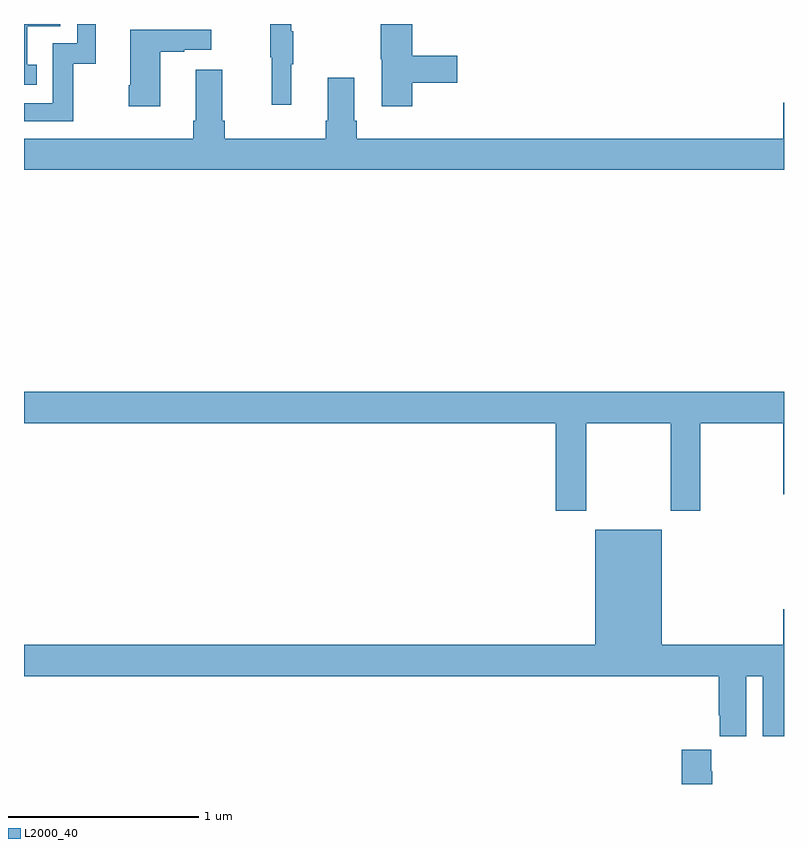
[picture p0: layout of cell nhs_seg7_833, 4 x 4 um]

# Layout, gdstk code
import gdstk
lib = gdstk.Library(unit=1e-6, precision=1e-09)
def P(c, l, *ps):  # polygons
    for p in ps: c.add(gdstk.Polygon(p, *l))
L2000_40 = (2000, 40)

nhs_seg7_833 = lib.new_cell('nhs_seg7_833')
P(nhs_seg7_833, L2000_40, [(173.066,1051.785),(173.017,1051.785),(173.017,1051.989),(173.19,1051.989),(173.19,1052),(173,1052),(173,1051.68),(173.066,1051.68)],
  [(174.407,1051.787),(174.418,1051.787),(174.418,1051.961),(174.407,1051.961),(174.407,1052),(174.297,1052),(174.297,1051.824),(174.304,1051.824),(174.304,1051.575),(174.407,1051.575)],
  [(173.26,1051.791),(173.378,1051.791),(173.378,1052),(173.28,1052),(173.28,1051.899),(173.151,1051.899),(173.151,1051.584),(173,1051.584),(173,1051.488),(173.26,1051.488)],
  [(175.043,1051.69),(175.279,1051.69),(175.279,1051.832),(175.043,1051.832),(175.043,1052),(174.877,1052),(174.877,1051.815),(174.884,1051.815),(174.884,1051.566),(175.043,1051.566)],
  [(173.716,1051.855),(173.843,1051.855),(173.843,1051.865),(173.986,1051.865),(173.986,1051.969),(173.558,1051.969),(173.558,1051.678),(173.551,1051.678),(173.551,1051.566),(173.716,1051.566)],
  [(177,1051.585),(176.996,1051.585),(176.996,1051.396),(174.752,1051.396),(174.752,1051.492),(174.739,1051.492),(174.739,1051.717),(174.599,1051.717),(174.599,1051.492),(174.587,1051.492),(174.587,1051.396),(174.056,1051.396),(174.056,1051.492),(174.043,1051.492),(174.043,1051.759),(173.903,1051.759),(173.903,1051.492),(173.891,1051.492),(173.891,1051.396),(173,1051.396),(173,1051.232),(177,1051.232)],
  [(175.959,1049.9),(176.404,1049.9),(176.404,1049.439),(176.559,1049.439),(176.559,1049.9),(176.996,1049.9),(176.996,1049.526),(177,1049.526),(177,1050.064),(173,1050.064),(173,1049.9),(175.799,1049.9),(175.799,1049.439),(175.959,1049.439)],
  [(176.8,1048.568),(176.888,1048.568),(176.888,1048.251),(177,1048.251),(177,1048.921),(176.996,1048.921),(176.996,1048.732),(176.356,1048.732),(176.356,1049.338),(176.006,1049.338),(176.006,1048.732),(173,1048.732),(173,1048.568),(176.657,1048.568),(176.657,1048.363),(176.663,1048.363),(176.663,1048.251),(176.8,1048.251)],
  [(176.622,1048.067),(176.617,1048.067),(176.617,1048.18),(176.462,1048.18),(176.462,1048),(176.622,1048)])

lib.write_gds('nhs_seg7_833.gds')
